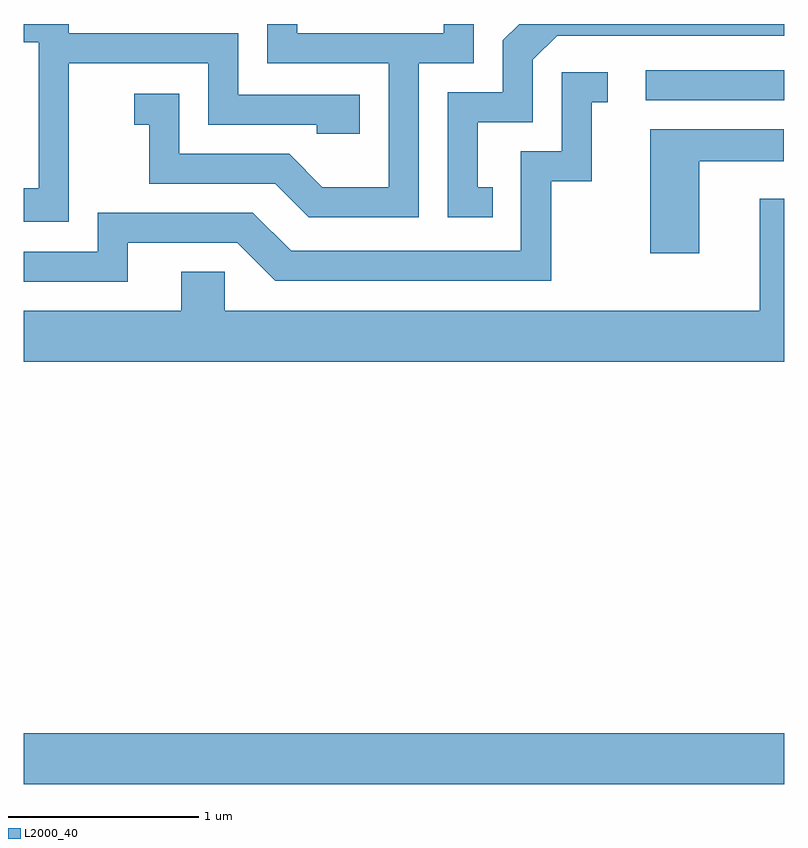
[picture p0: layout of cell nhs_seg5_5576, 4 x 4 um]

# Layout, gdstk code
import gdstk
lib = gdstk.Library(unit=1e-6, precision=1e-09)
def R(c, l, rs):  # rectangles x0, y0, x1, y1
    for r in rs: c.add(gdstk.rectangle(r[:2], r[2:], *l))
def P(c, l, *ps):  # polygons
    for p in ps: c.add(gdstk.Polygon(p, *l))
L2000_40 = (2000, 40)

nhs_seg5_5576 = lib.new_cell('nhs_seg5_5576')
R(nhs_seg5_5576, L2000_40, [(349.611,1510.076,353.611,1510.344), (352.883,1513.671,353.611,1513.829)])
P(nhs_seg5_5576, L2000_40, [(352.078,1513.214),(351.999,1513.214),(351.999,1513.556),(352.289,1513.556),(352.289,1513.884),(352.417,1514.011),(353.611,1514.011),(353.611,1514.072),(352.216,1514.072),(352.131,1513.987),(352.131,1513.714),(351.841,1513.714),(351.841,1513.056),(352.078,1513.056)],
  [(351.689,1513.866),(351.979,1513.866),(351.979,1514.072),(351.821,1514.072),(351.821,1514.024),(351.049,1514.024),(351.049,1514.072),(350.891,1514.072),(350.891,1513.866),(351.531,1513.866),(351.531,1513.214),(351.182,1513.214),(351.007,1513.389),(350.429,1513.389),(350.429,1513.704),(350.193,1513.704),(350.193,1513.541),(350.271,1513.541),(350.271,1513.231),(350.934,1513.231),(351.109,1513.056),(351.689,1513.056)],
  [(349.849,1513.866),(350.581,1513.866),(350.581,1513.541),(351.151,1513.541),(351.151,1513.496),(351.379,1513.496),(351.379,1513.699),(350.739,1513.699),(350.739,1514.024),(349.849,1514.024),(349.849,1514.072),(349.611,1514.072),(349.611,1513.976),(349.691,1513.976),(349.691,1513.209),(349.611,1513.209),(349.611,1513.031),(349.849,1513.031)],
  [(350.159,1512.921),(350.734,1512.921),(350.934,1512.721),(352.384,1512.721),(352.384,1513.246),(352.599,1513.246),(352.599,1513.661),(352.683,1513.661),(352.683,1513.819),(352.441,1513.819),(352.441,1513.404),(352.226,1513.404),(352.226,1512.879),(351.017,1512.879),(350.817,1513.079),(350.001,1513.079),(350.001,1512.874),(349.611,1512.874),(349.611,1512.716),(350.159,1512.716)],
  [(353.164,1513.351),(353.608,1513.351),(353.608,1513.519),(352.906,1513.519),(352.906,1512.866),(353.164,1512.866)],
  [(353.611,1513.154),(353.481,1513.154),(353.481,1512.564),(350.669,1512.564),(350.669,1512.769),(350.441,1512.769),(350.441,1512.564),(349.611,1512.564),(349.611,1512.296),(353.611,1512.296)])

lib.write_gds('nhs_seg5_5576.gds')
